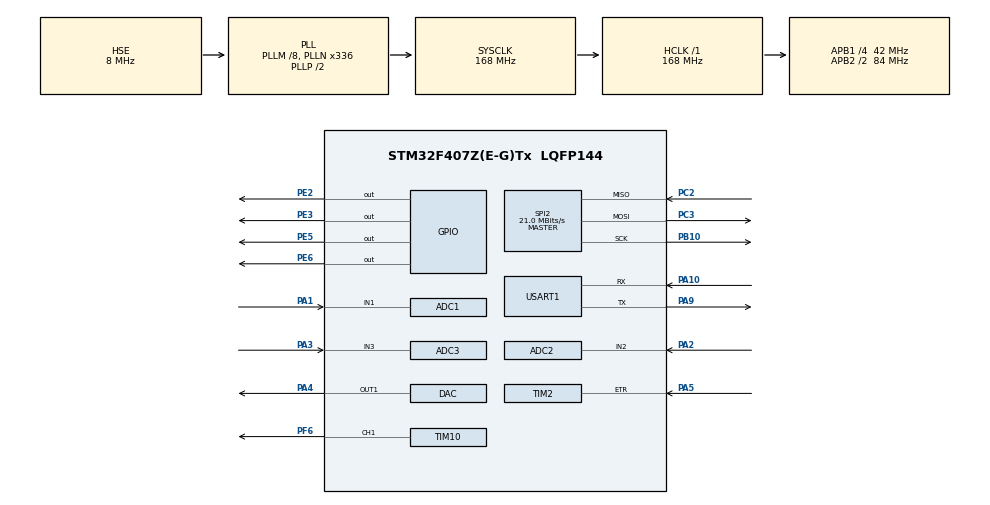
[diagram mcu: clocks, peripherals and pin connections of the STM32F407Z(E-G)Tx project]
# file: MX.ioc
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ADC1.Channel-0\#ChannelRegularConversion=ADC_CHANNEL_1
ADC1.DMAContinuousRequests=DISABLE
ADC1.ExternalTrigConv=ADC_EXTERNALTRIGCONV_T3_TRGO
ADC1.NbrOfConversion=1
ADC1.NbrOfConversionFlag=1
ADC1.Rank-0\#ChannelRegularConversion=1
ADC1.SamplingTime-0\#ChannelRegularConversion=ADC_SAMPLETIME_3CYCLES
ADC1.master=1
ADC2.Channel-2\#ChannelRegularConversion=ADC_CHANNEL_2
ADC2.DMAContinuousRequests=DISABLE
ADC2.ExternalTrigConv=ADC_EXTERNALTRIGCONV_T8_TRGO
ADC2.NbrOfConversionFlag=1
ADC2.Rank-2\#ChannelRegularConversion=1
ADC2.SamplingTime-2\#ChannelRegularConversion=ADC_SAMPLETIME_3CYCLES
ADC3.Channel-0\#ChannelRegularConversion=ADC_CHANNEL_3
ADC3.DMAContinuousRequests=DISABLE
ADC3.ExternalTrigConv=ADC_EXTERNALTRIGCONV_T3_TRGO
ADC3.NbrOfConversionFlag=1
ADC3.Rank-0\#ChannelRegularConversion=1
ADC3.SamplingTime-0\#ChannelRegularConversion=ADC_SAMPLETIME_3CYCLES
Dma.ADC1.0.Direction=DMA_PERIPH_TO_MEMORY
Dma.ADC1.0.FIFOMode=DMA_FIFOMODE_DISABLE
Dma.ADC1.0.Instance=DMA2_Stream0
Dma.ADC1.0.MemDataAlignment=DMA_MDATAALIGN_HALFWORD
Dma.ADC1.0.MemInc=DMA_MINC_ENABLE
Dma.ADC1.0.Mode=DMA_NORMAL
Dma.ADC1.0.PeriphDataAlignment=DMA_PDATAALIGN_HALFWORD
Dma.ADC1.0.PeriphInc=DMA_PINC_DISABLE
Dma.ADC1.0.Priority=DMA_PRIORITY_VERY_HIGH
Dma.ADC2.2.Direction=DMA_PERIPH_TO_MEMORY
Dma.ADC2.2.FIFOMode=DMA_FIFOMODE_DISABLE
Dma.ADC2.2.Instance=DMA2_Stream2
Dma.ADC2.2.MemDataAlignment=DMA_MDATAALIGN_HALFWORD
Dma.ADC2.2.MemInc=DMA_MINC_ENABLE
Dma.ADC2.2.Mode=DMA_NORMAL
Dma.ADC2.2.PeriphDataAlignment=DMA_PDATAALIGN_HALFWORD
Dma.ADC2.2.PeriphInc=DMA_PINC_DISABLE
Dma.ADC2.2.Priority=DMA_PRIORITY_VERY_HIGH
Dma.ADC3.1.Direction=DMA_PERIPH_TO_MEMORY
Dma.ADC3.1.FIFOMode=DMA_FIFOMODE_DISABLE
Dma.ADC3.1.Instance=DMA2_Stream1
Dma.ADC3.1.MemDataAlignment=DMA_MDATAALIGN_HALFWORD
Dma.ADC3.1.MemInc=DMA_MINC_ENABLE
Dma.ADC3.1.Mode=DMA_NORMAL
Dma.ADC3.1.PeriphDataAlignment=DMA_PDATAALIGN_HALFWORD
Dma.ADC3.1.PeriphInc=DMA_PINC_DISABLE
Dma.ADC3.1.Priority=DMA_PRIORITY_VERY_HIGH
Dma.Request0=ADC1
Dma.Request1=ADC3
Dma.Request2=ADC2
FREERTOS.BinarySemaphores01=adc1cpltsemaphore,Dynamic,NULL
FREERTOS.Tasks01=defaultTask,24,128,StartDefaultTask,Default,NULL,Dynamic,NULL,NULL
FREERTOS.configCHECK_FOR_STACK_OVERFLOW=2
FREERTOS.configENABLE_FPU=1
FREERTOS.configUSE_TICK_HOOK=1
IWDG.Prescaler=IWDG_PRESCALER_256
Mcu.Family=STM32F4
Mcu.Name=STM32F407Z(E-G)Tx
Mcu.Package=LQFP144
NVIC.DMA2_Stream0_IRQn=true\:5\:0\:true\:false\:true\:true\:false\:true\:true
NVIC.DMA2_Stream1_IRQn=true\:5\:0\:true\:false\:true\:true\:false\:true\:true
NVIC.DMA2_Stream2_IRQn=true\:5\:0\:true\:false\:true\:true\:false\:true\:true
NVIC.PriorityGroup=NVIC_PRIORITYGROUP_4
NVIC.TIM4_IRQn=true\:5\:0\:false\:false\:true\:true\:true\:true\:true
NVIC.TIM7_IRQn=true\:15\:0\:false\:false\:true\:false\:false\:true\:true
NVIC.TimeBase=TIM7_IRQn
NVIC.TimeBaseIP=TIM7
PA1.Signal=ADCx_IN1
PA10.Mode=Asynchronous
PA10.Signal=USART1_RX
PA13.Mode=Serial_Wire
PA13.Signal=SYS_JTMS-SWDIO
PA14.Mode=Serial_Wire
PA14.Signal=SYS_JTCK-SWCLK
PA2.Signal=ADCx_IN2
PA3.Signal=ADCx_IN3
PA4.Signal=COMP_DAC1_group
PA5.Signal=S_TIM2_CH1_ETR
PA9.Mode=Asynchronous
PA9.Signal=USART1_TX
PB10.Mode=Full_Duplex_Master
PB10.Signal=SPI2_SCK
PC2.Mode=Full_Duplex_Master
PC2.Signal=SPI2_MISO
PC3.Mode=Full_Duplex_Master
PC3.Signal=SPI2_MOSI
PE2.Signal=GPIO_Output
PE3.Signal=GPIO_Output
PE5.Signal=GPIO_Output
PE6.Signal=GPIO_Output
PF6.Signal=S_TIM10_CH1
PH0-OSC_IN.Mode=HSE-External-Oscillator
PH0-OSC_IN.Signal=RCC_OSC_IN
PH1-OSC_OUT.Mode=HSE-External-Oscillator
PH1-OSC_OUT.Signal=RCC_OSC_OUT
ProjectManager.HeapSize=0x2000
ProjectManager.StackSize=0x2000
ProjectManager.TargetToolchain=MDK-ARM V5.32
RCC.48MHZClocksFreq_Value=84000000
RCC.AHBFreq_Value=168000000
RCC.APB1CLKDivider=RCC_HCLK_DIV4
RCC.APB1Freq_Value=42000000
RCC.APB1TimFreq_Value=84000000
RCC.APB2CLKDivider=RCC_HCLK_DIV2
RCC.APB2Freq_Value=84000000
RCC.APB2TimFreq_Value=168000000
RCC.CortexFreq_Value=168000000
RCC.HCLKFreq_Value=168000000
RCC.HSE_VALUE=8000000
RCC.HSI_VALUE=16000000
RCC.LSE_VALUE=32768
RCC.PLLM=8
RCC.PLLN=336
RCC.PLLSourceVirtual=RCC_PLLSOURCE_HSE
RCC.SYSCLKFreq_VALUE=168000000
RCC.SYSCLKSource=RCC_SYSCLKSOURCE_PLLCLK
RCC.VCOOutputFreq_Value=336000000
SH.ADCx_IN1.0=ADC1_IN1,IN1
SH.ADCx_IN2.0=ADC2_IN2,IN2
SH.ADCx_IN3.0=ADC3_IN3,IN3
SH.COMP_DAC1_group.0=DAC_OUT1,DAC_OUT1
SH.S_TIM10_CH1.0=TIM10_CH1,PWM Generation1 CH1
SH.S_TIM2_CH1_ETR.0=TIM2_ETR,ClockSourceETR_Mode2
SPI2.CalculateBaudRate=21.0 MBits/s
SPI2.Direction=SPI_DIRECTION_2LINES
SPI2.Mode=SPI_MODE_MASTER
SPI2.VirtualType=VM_MASTER
TIM10.Channel=TIM_CHANNEL_1
TIM10.Period=84-1
TIM10.Prescaler=2-1
TIM3.Period=84-1
TIM3.Prescaler=5-1
TIM3.TIM_MasterOutputTrigger=TIM_TRGO_UPDATE
TIM4.Period=8400-1
TIM4.Prescaler=10000-1
TIM8.Period=84-1
TIM8.Prescaler=100-1
TIM8.TIM_MasterOutputTrigger=TIM_TRGO_UPDATE
USART1.VirtualMode=VM_ASYNC
VP_FREERTOS_VS_CMSIS_V2.Mode=CMSIS_V2
VP_IWDG_VS_IWDG.Mode=IWDG_Activate
VP_SYS_VS_tim7.Mode=TIM7
VP_TIM10_VS_ClockSourceINT.Mode=Enable_Timer
VP_TIM3_VS_ClockSourceINT.Mode=Internal
VP_TIM4_VS_ClockSourceINT.Mode=Internal
VP_TIM8_VS_ClockSourceINT.Mode=Internal
board=custom

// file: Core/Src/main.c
/* USER CODE BEGIN Header */
/**
  ******************************************************************************
  * @file           : main.c
  * @brief          : Main program body
  ******************************************************************************
  * @attention
  *
  * <h2><center>&copy; Copyright (c) 2025 STMicroelectronics.
  * All rights reserved.</center></h2>
  *
  * This software component is licensed by ST under BSD 3-Clause license,
  * the "License"; You may not use this file except in compliance with the
  * License. You may obtain a copy of the License at:
  *                        opensource.org/licenses/BSD-3-Clause
  *
  ******************************************************************************
  */
/* USER CODE END Header */
#include "main.h"
#include "cmsis_os.h"
#include "adc.h"
#include "dac.h"
#include "dma.h"
#include "iwdg.h"
#include "spi.h"
#include "tim.h"
#include "usart.h"
#include "gpio.h"

/* USER CODE BEGIN Includes */
#include <stdio.h>
#include "arm_math.h"
#include "math.h"
#include "touch.h"
#include "gt9xxx.h"
#include "dev.h"
#include "TLV56XX_V1.h"
/* USER CODE END Includes */

/* USER CODE BEGIN PV */
lv_ui guider_ui;
uint8_t volatile adc1cplt=0;// TIM3 200kHz
uint8_t volatile adc2cplt=0;// TIM8 10k for slow sampling analysis
uint8_t volatile adc3cplt;// TIM3 200k
uint32_t ETR_CNT;
#define ADC_DMA_LENGTH 1024
#define FS 200000.0
float AmpPeak;
float FreqPeak;
__attribute__((section(".dma_buffer")))uint16_t ADC_DMA_BUFFER[ADC_DMA_LENGTH];//
__attribute__((section(".dma_buffer")))uint16_t ADC3_DMA_BUFFER[ADC_DMA_LENGTH];//
__attribute__((section(".dma_buffer")))uint16_t ADC2_DMA_BUFFER[ADC_DMA_LENGTH];//__attribute__((section(".dma_buffer")))
//uint16_t ADC_DMA_BUFFER[ADC_DMA_LENGTH];//
//uint16_t ADC2_DMA_BUFFER[ADC_DMA_LENGTH];//
//uint16_t ADC3_DMA_BUFFER[ADC_DMA_LENGTH];//

float FFT_INPUT[ADC_DMA_LENGTH*2];
float FFT_OUTPUT[ADC_DMA_LENGTH];
/* USER CODE END PV */

void SystemClock_Config(void);
void MX_FREERTOS_Init(void);

int main(void)
{

  /* MCU Configuration--------------------------------------------------------*/

  /* Reset of all peripherals, Initializes the Flash interface and the Systick. */
  HAL_Init();

  /* Configure the system clock */
  SystemClock_Config();

  /* Initialize all configured peripherals */
  MX_GPIO_Init();
  MX_DMA_Init();
  MX_USART1_UART_Init();
  MX_ADC1_Init();
  MX_TIM2_Init();
  MX_TIM3_Init();
  MX_TIM4_Init();
  MX_ADC2_Init();
  MX_ADC3_Init();
  MX_TIM8_Init();
  MX_TIM10_Init();
  MX_DAC_Init();
  MX_SPI2_Init();
  MX_IWDG_Init();
  /* USER CODE BEGIN 2 */
	HAL_TIM_Base_Start_IT(&htim4);
	HAL_TIM_Base_Start(&htim2);
	//HAL_ADC_Start_DMA(&hadc1,(uint32_t *)ADC_DMA_BUFFER,ADC_DMA_LENGTH);
	HAL_TIM_Base_Start(&htim8);
	HAL_TIM_Base_Start(&htim3);
	HAL_TIM_Base_Start(&htim10);
	HAL_TIM_PWM_Start(&htim10,TIM_CHANNEL_1);

	/**************** EEPROM  *****************/
//	EEPROM_init();
//	cal_write_adjust_data();
//	cal_read_adjust_data();

	/**************** AD9959  *****************/
//	Init_AD9959();
//  AD9959_Set_Amplitude_Phase_Frequence(0,1024,0,1000000);
//  AD9959_Set_Amplitude_Phase_Frequence(1,1024,90,1000000);

	/* DAC */
	HAL_DAC_Start(&hdac,DAC1_CHANNEL_1);
	HAL_DAC_SetValue(&hdac,DAC1_CHANNEL_1,DAC_ALIGN_12B_R,3000);

	// TLV_DAC_Init();
	// TLV_DAC_Output(TLV_DAC_CH1,2);

	lcd_init();
	lv_init();
	lv_port_disp_init();	// Initialize display
	lv_port_indev_init();   // Initialize input device
	setup_ui(&guider_ui);
	events_init(&guider_ui);
  /* USER CODE END 2 */

  /* Init scheduler */
  osKernelInitialize();  /* Call init function for freertos objects (in freertos.c) */
  MX_FREERTOS_Init();

  /* Start scheduler */
  osKernelStart();

  /* We should never get here as control is now taken by the scheduler */
  /* Infinite loop */
  while (1)
  {

  }
}

void SystemClock_Config(void)
{
  RCC_OscInitTypeDef RCC_OscInitStruct = {0};
  RCC_ClkInitTypeDef RCC_ClkInitStruct = {0};

  /** Configure the main internal regulator output voltage
  */
  __HAL_RCC_PWR_CLK_ENABLE();
  __HAL_PWR_VOLTAGESCALING_CONFIG(PWR_REGULATOR_VOLTAGE_SCALE1);

  /** Initializes the RCC Oscillators according to the specified parameters
  * in the RCC_OscInitTypeDef structure.
  */
  RCC_OscInitStruct.OscillatorType = RCC_OSCILLATORTYPE_LSI|RCC_OSCILLATORTYPE_HSE;
  RCC_OscInitStruct.HSEState = RCC_HSE_ON;
  RCC_OscInitStruct.LSIState = RCC_LSI_ON;
  RCC_OscInitStruct.PLL.PLLState = RCC_PLL_ON;
  RCC_OscInitStruct.PLL.PLLSource = RCC_PLLSOURCE_HSE;
  RCC_OscInitStruct.PLL.PLLM = 8;
  RCC_OscInitStruct.PLL.PLLN = 336;
  RCC_OscInitStruct.PLL.PLLP = RCC_PLLP_DIV2;
  RCC_OscInitStruct.PLL.PLLQ = 4;
  if (HAL_RCC_OscConfig(&RCC_OscInitStruct) != HAL_OK)
  {
    Error_Handler();
  }

  /** Initializes the CPU, AHB and APB buses clocks
  */
  RCC_ClkInitStruct.ClockType = RCC_CLOCKTYPE_HCLK|RCC_CLOCKTYPE_SYSCLK
                              |RCC_CLOCKTYPE_PCLK1|RCC_CLOCKTYPE_PCLK2;
  RCC_ClkInitStruct.SYSCLKSource = RCC_SYSCLKSOURCE_PLLCLK;
  RCC_ClkInitStruct.AHBCLKDivider = RCC_SYSCLK_DIV1;
  RCC_ClkInitStruct.APB1CLKDivider = RCC_HCLK_DIV4;
  RCC_ClkInitStruct.APB2CLKDivider = RCC_HCLK_DIV2;

  if (HAL_RCC_ClockConfig(&RCC_ClkInitStruct, FLASH_LATENCY_5) != HAL_OK)
  {
    Error_Handler();
  }
}

void HAL_TIM_PeriodElapsedCallback(TIM_HandleTypeDef *htim)
{
  if (htim->Instance == TIM7) {
    HAL_IncTick();
  }
}

void Error_Handler(void)
{
  __disable_irq();
  while (1)
  {
  }
}

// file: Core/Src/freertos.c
/* USER CODE BEGIN Header */
/**
  ******************************************************************************
  * File Name          : freertos.c
  * Description        : Code for freertos applications
  ******************************************************************************
  * @attention
  *
  * <h2><center>&copy; Copyright (c) 2025 STMicroelectronics.
  * All rights reserved.</center></h2>
  *
  * This software component is licensed by ST under Ultimate Liberty license
  * SLA0044, the "License"; You may not use this file except in compliance with
  * the License. You may obtain a copy of the License at:
  *                             www.st.com/SLA0044
  *
  ******************************************************************************
  */
/* USER CODE END Header */

#include "FreeRTOS.h"
#include "task.h"
#include "main.h"
#include "cmsis_os.h"

/* USER CODE BEGIN Includes */
#include <stdio.h>
#include "semphr.h"
#include "cal.h"
/* USER CODE END Includes */

/* USER CODE BEGIN PD */
#define ADC_DMA_LENGTH 1024
/* USER CODE END PD */

/* Definitions for defaultTask */
osThreadId_t defaultTaskHandle;
const osThreadAttr_t defaultTask_attributes = {
  .name = "defaultTask",
  .stack_size = 128 * 4,
  .priority = (osPriority_t) osPriorityNormal,
};
/* Definitions for adc1cpltsemaphore */
osSemaphoreId_t adc1cpltsemaphoreHandle;
const osSemaphoreAttr_t adc1cpltsemaphore_attributes = {
  .name = "adc1cpltsemaphore"
};

/* USER CODE BEGIN FunctionPrototypes */

extern IWDG_HandleTypeDef hiwdg;

/*************************************************************************************************/

#define TASK1_PRIO      1                   /* priority */
#define TASK1_STK_SIZE  1024                 /* stack size */
TaskHandle_t  Task1_Handler;								/* handler */
void task1(void *pvParameters){
		uint32_t Freq=0;
    while(1)
    {
				lv_task_handler();
				HAL_IWDG_Refresh(&hiwdg);
        vTaskDelay(10);
    }

};

/*************************************************************************************************/
/**
 @note three ADC Handler share one public task function
*/
extern uint16_t ADC_DMA_BUFFER[ADC_DMA_LENGTH];
extern uint16_t ADC2_DMA_BUFFER[ADC_DMA_LENGTH];
extern uint16_t ADC3_DMA_BUFFER[ADC_DMA_LENGTH];
extern float FFT_OUTPUT[ADC_DMA_LENGTH];
extern ADC_HandleTypeDef hadc1;
extern ADC_HandleTypeDef hadc2;
extern ADC_HandleTypeDef hadc3;
#define ADCTASK_PRIO      2                 /* Priority   */
#define ADCTASK_STK_SIZE  512                /* Stacksize */
TaskHandle_t  ADCTask_Handler[3];							/* Handler    */
void ADCprocess(void *pvParameters){

		uint8_t adc_id= (uint32_t) pvParameters;
    while(1) {
        // HAL_ADC_Start_DMA(&hadc1, (uint32_t *)ADC_DMA_BUFFER, ADC_DMA_LENGTH * 2);
        // if (xSemaphoreTake(adc1cpltsemaphoreHandle, pdMS_TO_TICKS(5000)) == pdTRUE) {
        //     HAL_ADC_Stop_DMA(&hadc1);
				uint32_t ulNotificationValue = ulTaskNotifyTake(pdTRUE, portMAX_DELAY);

        // }
				if(ulNotificationValue > 0) {
					if(adc_id==1){
						HAL_ADC_Stop_DMA(&hadc1);
						fir_test(ADC_DMA_BUFFER);
            printf("ADC1\n");
						vTaskDelay(pdMS_TO_TICKS(1000));
						HAL_ADC_Start_DMA(&hadc2, (uint32_t *)ADC2_DMA_BUFFER, ADC_DMA_LENGTH);
					}
					else if(adc_id==2){
						HAL_ADC_Stop_DMA(&hadc2);
            printf("ADC2\n");
						vTaskDelay(pdMS_TO_TICKS(1));
						HAL_ADC_Start_DMA(&hadc3, (uint32_t *)ADC3_DMA_BUFFER, ADC_DMA_LENGTH);
					}
					else if(adc_id==3){
						HAL_ADC_Stop_DMA(&hadc3);
            printf("ADC3\n");
						vTaskDelay(pdMS_TO_TICKS(1));
						HAL_ADC_Start_DMA(&hadc1, (uint32_t *)ADC_DMA_BUFFER, ADC_DMA_LENGTH);
					}
					HAL_IWDG_Refresh(&hiwdg);
				}
					vTaskDelay(pdMS_TO_TICKS(10)); /* 1s */

    }
}

void HAL_ADC_ConvCpltCallback(ADC_HandleTypeDef *hadc){
		BaseType_t xHigherPriorityTaskWoken = pdFALSE;

			if (hadc->Instance == ADC1) {

					vTaskNotifyGiveFromISR(ADCTask_Handler[0], &xHigherPriorityTaskWoken);
					}
			else if(hadc->Instance == ADC2){

					vTaskNotifyGiveFromISR(ADCTask_Handler[1], &xHigherPriorityTaskWoken);
					}
      else if(hadc->Instance == ADC3){

          vTaskNotifyGiveFromISR(ADCTask_Handler[2], &xHigherPriorityTaskWoken);
          }

    portYIELD_FROM_ISR(xHigherPriorityTaskWoken);
}
/*************************************************************************************************/
#define START_TASK_PRIO 3
#define START_STK_SIZE  512
TaskHandle_t  StartTask_Handler;

void start_task(void *pvParameters){

		printf("start task in");
    if(xTaskCreate((TaskFunction_t )task1,
									(const char*    )"task1",
									(uint16_t       )TASK1_STK_SIZE,
									(void*          )NULL,
									(UBaseType_t    )TASK1_PRIO,
									(TaskHandle_t*  )&Task1_Handler)!= pdPASS) {
        printf("Failed to create LVGL task\n");

    }

    if (xTaskCreate((TaskFunction_t )ADCprocess, "adc task", ADCTASK_STK_SIZE, (void* )1, ADCTASK_PRIO, &ADCTask_Handler[0]) != pdPASS) {
        printf("Failed to create ADC task 1\n");

    }
    if (xTaskCreate((TaskFunction_t )ADCprocess, "adc task2", ADCTASK_STK_SIZE, (void* )2, ADCTASK_PRIO, &ADCTask_Handler[1]) != pdPASS) {
        printf("Failed to create ADC task 2\n");
        while(1);
    }
    if (xTaskCreate((TaskFunction_t )ADCprocess, "adc task3", ADCTASK_STK_SIZE, (void* )3, ADCTASK_PRIO, &ADCTask_Handler[2]) != pdPASS) {
        printf("Failed to create ADC task 3\n");
        while(1);
    }

    printf("All tasks created successfully. Starting ADC1...\n");

		HAL_ADC_Start_DMA(&hadc1, (uint32_t *)ADC_DMA_BUFFER, ADC_DMA_LENGTH);
		vTaskDelay(pdMS_TO_TICKS(100));

		vTaskDelete(StartTask_Handler);

}
/*************************************************************************************************/
/* USER CODE END FunctionPrototypes */

void StartDefaultTask(void *argument);

void MX_FREERTOS_Init(void); /* (MISRA C 2004 rule 8.1) */

/* Hook prototypes */
void vApplicationTickHook(void);
void vApplicationStackOverflowHook(xTaskHandle xTask, signed char *pcTaskName);

/* USER CODE BEGIN 3 */
void vApplicationTickHook(void)
{
   /* This function will be called by each tick interrupt if
   configUSE_TICK_HOOK is set to 1 in FreeRTOSConfig.h. User code can be
   added here, but the tick hook is called from an interrupt context, so
   code must not attempt to block, and only the interrupt safe FreeRTOS API
   functions can be used (those that end in FromISR()). */
	lv_tick_inc(1);
}
/* USER CODE END 3 */

/* USER CODE BEGIN 4 */
void vApplicationStackOverflowHook(xTaskHandle xTask, signed char *pcTaskName)
{
   /* Run time stack overflow checking is performed if
   configCHECK_FOR_STACK_OVERFLOW is defined to 1 or 2. This hook function is
   called if a stack overflow is detected. */
	printf("OS Stack OverFlow");
}
/* USER CODE END 4 */

void MX_FREERTOS_Init(void) {

  /* Create the semaphores(s) */
  /* creation of adc1cpltsemaphore */
  adc1cpltsemaphoreHandle = osSemaphoreNew(1, 1, &adc1cpltsemaphore_attributes);

  /* Create the thread(s) */
  /* creation of defaultTask */
  defaultTaskHandle = osThreadNew(StartDefaultTask, NULL, &defaultTask_attributes);

  /* USER CODE BEGIN RTOS_THREADS */
  /* add threads, ... */
	xTaskCreate((TaskFunction_t )start_task,
              (const char*    )"start_task",
              (uint16_t       )START_STK_SIZE,
              (void*          )NULL,
              (UBaseType_t    )START_TASK_PRIO,
              (TaskHandle_t*  )&StartTask_Handler);
  /* USER CODE END RTOS_THREADS */

}

void StartDefaultTask(void *argument)
{
  for(;;)
  {
    osDelay(1);
  }
}
